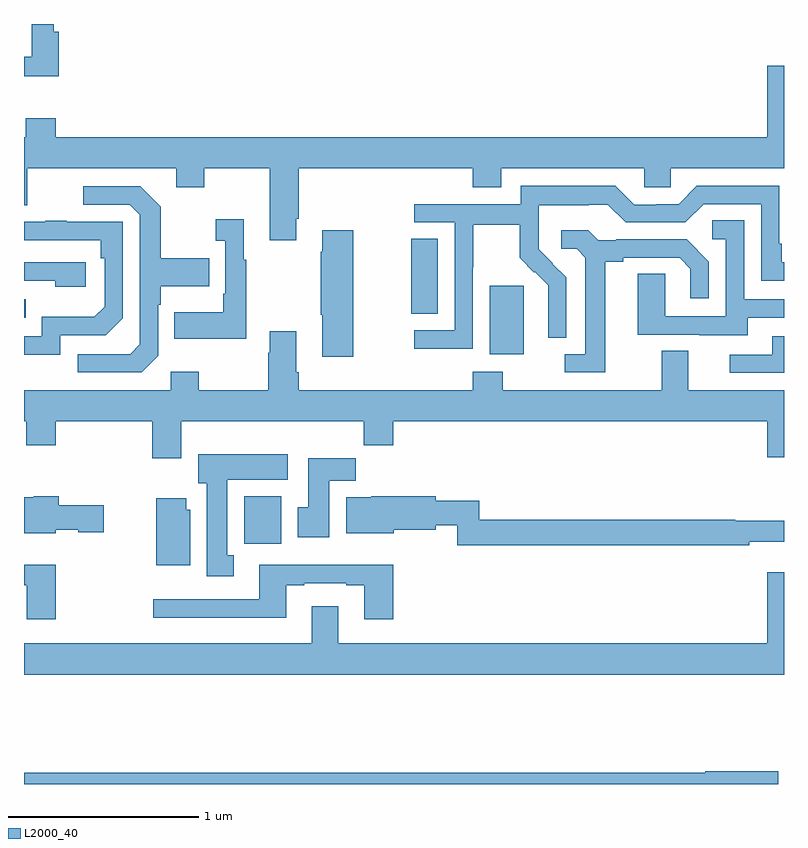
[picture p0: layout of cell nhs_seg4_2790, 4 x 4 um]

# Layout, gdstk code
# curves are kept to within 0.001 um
import gdstk
lib = gdstk.Library(unit=1e-6, precision=1e-09)
def R(c, l, rs):  # rectangles x0, y0, x1, y1
    for r in rs: c.add(gdstk.rectangle(r[:2], r[2:], *l))
def P(c, l, *ps):  # polygons
    for p in ps: c.add(gdstk.Polygon(p, *l))
L2000_40 = (2000, 40)

nhs_seg4_2790 = lib.new_cell('nhs_seg4_2790')
R(nhs_seg4_2790, L2000_40, [(258.159,808.164,258.355,808.414), (259.451,809.162,259.63,809.523), (257,809.355,257.009,809.451), (259.039,809.374,259.177,809.771)])
P(nhs_seg4_2790, L2000_40, [(257.183,810.859),(257.156,810.859),(257.156,810.9),(257.04,810.9),(257.04,810.727),(257,810.727),(257,810.626),(257.183,810.626)],
  [(258.433,809.875),(258.446,809.875),(258.446,810.14),(259.361,810.14),(259.361,810.041),(259.513,810.041),(259.513,810.14),(260.265,810.14),(260.265,810.042),(260.403,810.042),(260.403,810.14),(261,810.14),(261,810.679),(260.912,810.679),(260.912,810.304),(257.168,810.304),(257.168,810.403),(257.008,810.403),(257.008,810.304),(257,810.304),(257,809.946),(257.017,809.946),(257.017,810.14),(257.801,810.14),(257.801,810.041),(257.949,810.041),(257.949,810.14),(258.293,810.14),(258.293,809.763),(258.433,809.763)],
  [(259.362,809.62),(259.365,809.62),(259.365,809.844),(259.609,809.844),(259.609,809.669),(259.686,809.592),(259.689,809.595),(259.76,809.525),(259.76,809.402),(259.758,809.402),(259.758,809.248),(259.854,809.248),(259.854,809.566),(259.708,809.714),(259.708,809.811),(259.71,809.811),(259.71,809.945),(259.973,809.945),(259.973,809.949),(260.073,809.949),(260.166,809.856),(260.481,809.856),(260.577,809.952),(260.88,809.952),(260.88,809.55),(261,809.55),(261,809.646),(260.989,809.646),(260.989,809.743),(260.976,809.743),(260.976,810.048),(260.541,810.048),(260.445,809.952),(260.327,809.952),(260.327,809.949),(260.211,809.949),(260.111,810.049),(259.614,810.049),(259.614,809.952),(259.053,809.952),(259.053,809.856),(259.266,809.856),(259.266,809.289),(259.053,809.289),(259.053,809.191),(259.362,809.191)],
  [(257.706,809.154),(257.706,809.423),(257.719,809.423),(257.719,809.519),(257.975,809.519),(257.975,809.667),(257.719,809.667),(257.719,809.939),(257.613,810.045),(257.313,810.045),(257.313,809.949),(257.556,809.949),(257.61,809.895),(257.61,809.214),(257.559,809.163),(257.283,809.163),(257.283,809.067),(257.619,809.067)],
  [(258.169,809.659),(258.157,809.659),(258.157,809.872),(258.009,809.872),(258.009,809.759),(258.06,809.759),(258.06,809.479),(258.048,809.479),(258.048,809.383),(257.791,809.383),(257.791,809.243),(258.169,809.243)],
  [(260.809,809.355),(261,809.355),(261,809.451),(260.79,809.451),(260.79,809.867),(260.622,809.867),(260.622,809.766),(260.694,809.766),(260.694,809.361),(260.376,809.361),(260.376,809.585),(260.231,809.585),(260.231,809.265),(260.555,809.265),(260.555,809.261),(260.809,809.261)],
  [(257.19,809.262),(257.43,809.262),(257.52,809.352),(257.52,809.859),(257.225,809.859),(257.225,809.864),(257.113,809.864),(257.113,809.859),(257,809.859),(257,809.763),(257.404,809.763),(257.404,809.666),(257.424,809.666),(257.424,809.412),(257.371,809.359),(257.094,809.359),(257.094,809.256),(257,809.256),(257,809.16),(257.19,809.16)],
  [(258.732,809.815),(258.569,809.815),(258.569,809.702),(258.562,809.702),(258.562,809.371),(258.569,809.371),(258.569,809.148),(258.732,809.148)],
  [(260.059,809.648),(260.155,809.648),(260.155,809.67),(260.45,809.67),(260.507,809.613),(260.507,809.457),(260.604,809.457),(260.604,809.65),(260.488,809.766),(260.116,809.766),(260.116,809.763),(260.022,809.763),(259.97,809.815),(259.827,809.815),(259.827,809.718),(259.908,809.718),(259.955,809.671),(259.955,809.163),(259.845,809.163),(259.845,809.067),(260.059,809.067)],
  [(257.326,809.646),(257,809.646),(257,809.55),(257.165,809.55),(257.165,809.516),(257.326,809.516)],
  [(258.787,808.684),(258.944,808.684),(258.944,808.808),(260.912,808.808),(260.912,808.62),(261,808.62),(261,808.972),(260.497,808.972),(260.497,809.18),(260.357,809.18),(260.357,808.972),(259.521,808.972),(259.521,809.071),(259.361,809.071),(259.361,808.972),(258.446,808.972),(258.446,809.068),(258.433,809.068),(258.433,809.284),(258.293,809.284),(258.293,809.171),(258.286,809.171),(258.286,808.972),(257.919,808.972),(257.919,809.071),(257.772,809.071),(257.772,808.972),(257,808.972),(257,808.808),(257.011,808.808),(257.011,808.684),(257.168,808.684),(257.168,808.808),(257.675,808.808),(257.675,808.614),(257.827,808.614),(257.827,808.808),(258.787,808.808)],
  [(261,809.256),(260.939,809.256),(260.939,809.16),(260.715,809.16),(260.715,809.064),(261,809.064)],
  [(258.103,808.105),(258.07,808.105),(258.07,808.502),(258.388,808.502),(258.388,808.636),(257.918,808.636),(257.918,808.482),(257.963,808.482),(257.963,807.993),(258.103,807.993)],
  [(258.607,808.496),(258.746,808.496),(258.746,808.615),(258.497,808.615),(258.497,808.356),(258.44,808.356),(258.44,808.2),(258.607,808.2)],
  [(257.166,808.238),(257.286,808.238),(257.286,808.226),(257.419,808.226),(257.419,808.368),(257.183,808.368),(257.183,808.414),(257.052,808.414),(257.052,808.408),(257,808.408),(257,808.22),(257.166,808.22)],
  [(260.816,808.175),(261,808.175),(261,808.285),(260.743,808.285),(260.743,808.292),(259.397,808.292),(259.397,808.39),(259.168,808.39),(259.168,808.414),(258.828,808.414),(258.828,808.408),(258.695,808.408),(258.695,808.22),(258.946,808.22),(258.946,808.238),(259.168,808.238),(259.168,808.261),(259.281,808.261),(259.281,808.156),(260.816,808.156)],
  [(257.875,808.344),(257.854,808.344),(257.854,808.405),(257.696,808.405),(257.696,808.052),(257.875,808.052)],
  [(257.168,808.054),(257,808.054),(257,807.945),(257.015,807.945),(257.015,807.768),(257.168,807.768)],
  [(258.944,808.054),(258.239,808.054),(258.239,807.873),(257.679,807.873),(257.679,807.776),(258.379,807.776),(258.379,807.945),(258.475,807.945),(258.475,807.957),(258.695,807.957),(258.695,807.945),(258.791,807.945),(258.791,807.768),(258.944,807.768)],
  [(261,808.015),(260.912,808.015),(260.912,807.64),(258.655,807.64),(258.655,807.835),(258.515,807.835),(258.515,807.64),(257,807.64),(257,807.476),(261,807.476)],
  [(260.971,806.966),(260.586,806.966),(260.586,806.96),(257,806.96),(257,806.9),(260.971,806.9)])

lib.write_gds('nhs_seg4_2790.gds')
